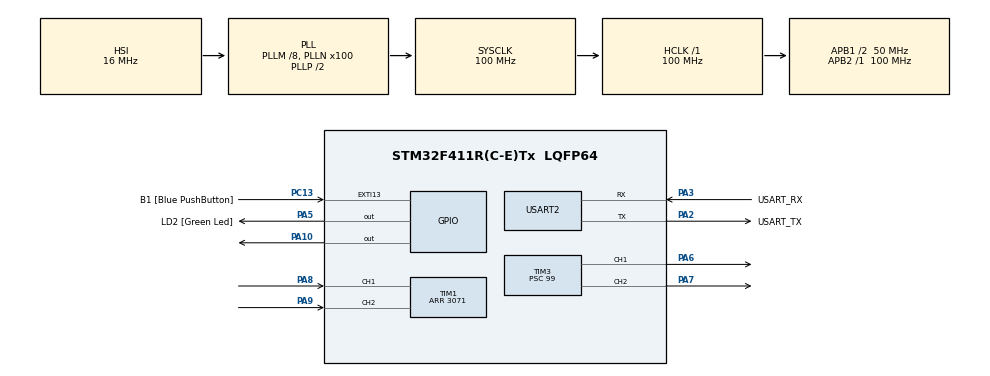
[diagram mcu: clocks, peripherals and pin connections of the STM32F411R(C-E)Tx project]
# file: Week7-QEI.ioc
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Mcu.Family=STM32F4
Mcu.Name=STM32F411R(C-E)Tx
Mcu.Package=LQFP64
NVIC.PriorityGroup=NVIC_PRIORITYGROUP_0
NVIC.TIM2_IRQn=true\:0\:0\:false\:false\:true\:true\:true
PA10.PinState=GPIO_PIN_SET
PA10.Signal=GPIO_Output
PA13.GPIO_Label=TMS
PA13.Mode=Serial_Wire
PA13.Signal=SYS_JTMS-SWDIO
PA14.GPIO_Label=TCK
PA14.Mode=Serial_Wire
PA14.Signal=SYS_JTCK-SWCLK
PA2.GPIO_Label=USART_TX
PA2.Mode=Asynchronous
PA2.Signal=USART2_TX
PA3.GPIO_Label=USART_RX
PA3.Mode=Asynchronous
PA3.Signal=USART2_RX
PA5.GPIO_Label=LD2 [Green Led]
PA5.Signal=GPIO_Output
PA6.Signal=S_TIM3_CH1
PA7.Signal=S_TIM3_CH2
PA8.Signal=S_TIM1_CH1
PA9.Signal=S_TIM1_CH2
PB3.GPIO_Label=SWO
PB3.Signal=SYS_JTDO-SWO
PC13-ANTI_TAMP.GPIO_Label=B1 [Blue PushButton]
PC13-ANTI_TAMP.GPIO_ModeDefaultEXTI=GPIO_MODE_IT_FALLING
PC13-ANTI_TAMP.Signal=GPXTI13
PC14-OSC32_IN.Mode=LSE-External-Oscillator
PC14-OSC32_IN.Signal=RCC_OSC32_IN
PC15-OSC32_OUT.Mode=LSE-External-Oscillator
PC15-OSC32_OUT.Signal=RCC_OSC32_OUT
PH0\ -\ OSC_IN.Mode=HSE-External-Clock-Source
PH0\ -\ OSC_IN.Signal=RCC_OSC_IN
PH1\ -\ OSC_OUT.Mode=HSE-External-Clock-Source
PH1\ -\ OSC_OUT.Signal=RCC_OSC_OUT
ProjectManager.HeapSize=0x200
ProjectManager.StackSize=0x400
ProjectManager.TargetToolchain=STM32CubeIDE
RCC.48MHZClocksFreq_Value=50000000
RCC.AHBFreq_Value=100000000
RCC.APB1CLKDivider=RCC_HCLK_DIV2
RCC.APB1Freq_Value=50000000
RCC.APB1TimFreq_Value=100000000
RCC.APB2Freq_Value=100000000
RCC.APB2TimFreq_Value=100000000
RCC.CortexFreq_Value=100000000
RCC.FLatency-AdvancedSettings=FLASH_LATENCY_3
RCC.HCLKFreq_Value=100000000
RCC.HSE_VALUE=8000000
RCC.HSI_VALUE=16000000
RCC.PLLM=8
RCC.PLLN=100
RCC.SYSCLKFreq_VALUE=100000000
RCC.SYSCLKSource=RCC_SYSCLKSOURCE_PLLCLK
RCC.VCOOutputFreq_Value=200000000
SH.S_TIM1_CH1.0=TIM1_CH1,Encoder_Interface
SH.S_TIM1_CH2.0=TIM1_CH2,Encoder_Interface
SH.S_TIM3_CH1.0=TIM3_CH1,PWM Generation1 CH1
SH.S_TIM3_CH2.0=TIM3_CH2,PWM Generation2 CH2
TIM1.EncoderMode=TIM_ENCODERMODE_TI12
TIM1.IC1Filter=4
TIM1.IC2Filter=0
TIM1.Period=3071
TIM2.Prescaler=99
TIM3.Channel-PWM\ Generation1\ CH1=TIM_CHANNEL_1
TIM3.Channel-PWM\ Generation2\ CH2=TIM_CHANNEL_2
TIM3.OCMode_PWM-PWM\ Generation1\ CH1=TIM_OCMODE_PWM1
TIM3.OCMode_PWM-PWM\ Generation2\ CH2=TIM_OCMODE_PWM1
TIM3.Period=10000
TIM3.Prescaler=99
TIM3.Pulse-PWM\ Generation1\ CH1=0
TIM3.Pulse-PWM\ Generation2\ CH2=0
USART2.VirtualMode=VM_ASYNC
VP_TIM2_VS_ClockSourceINT.Mode=Internal
VP_TIM3_VS_ClockSourceINT.Mode=Internal
board=NUCLEO-F411RE

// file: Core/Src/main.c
/* USER CODE BEGIN Header */
/**
 ******************************************************************************
 * @file           : main.c
 * @brief          : Main program body
 ******************************************************************************
 * @attention
 *
 * <h2><center>&copy; Copyright (c) 2021 STMicroelectronics.
 * All rights reserved.</center></h2>
 *
 * This software component is licensed by ST under BSD 3-Clause license,
 * the "License"; You may not use this file except in compliance with the
 * License. You may obtain a copy of the License at:
 *                        opensource.org/licenses/BSD-3-Clause
 *
 ******************************************************************************
 */
/* USER CODE END Header */
#include "main.h"

TIM_HandleTypeDef htim1;
TIM_HandleTypeDef htim2;
TIM_HandleTypeDef htim3;

UART_HandleTypeDef huart2;

/* USER CODE BEGIN PV */
uint64_t _micros = 0;
float KP= 15;
float KI= 0.02 ;
float KD= 1;
float EncoderVel = 0;
float RPM_Moter = 0;
float InputRPM = 0;
float PWMTarget = 0;
uint64_t Timestamp_Encoder = 0;
uint16_t PWMOut = 0;
/* USER CODE END PV */

void SystemClock_Config(void);
static void MX_GPIO_Init(void);
static void MX_USART2_UART_Init(void);
static void MX_TIM1_Init(void);
static void MX_TIM2_Init(void);
static void MX_TIM3_Init(void);
/* USER CODE BEGIN PFP */

void Process_Value();
void Control_RPM();
uint64_t micros();
float EncoderVelocity_Update();

/* USER CODE END PFP */

int main(void)
{

  /* MCU Configuration--------------------------------------------------------*/

  /* Reset of all peripherals, Initializes the Flash interface and the Systick. */
  HAL_Init();

  /* Configure the system clock */
  SystemClock_Config();

  /* Initialize all configured peripherals */
  MX_GPIO_Init();
  MX_USART2_UART_Init();
  MX_TIM1_Init();
  MX_TIM2_Init();
  MX_TIM3_Init();
  /* USER CODE BEGIN 2 */
	HAL_TIM_Base_Start_IT(&htim2);
	HAL_TIM_Encoder_Start(&htim1, TIM_CHANNEL_ALL);

	//Start PWM
	HAL_TIM_Base_Start(&htim3);
	HAL_TIM_PWM_Start(&htim3, TIM_CHANNEL_1);
	HAL_TIM_PWM_Start(&htim3, TIM_CHANNEL_2);
  /* USER CODE END 2 */

  /* Infinite loop */
	while (1)
	{

    /* USER CODE BEGIN 3 */

		if (micros() - Timestamp_Encoder >= 1000){
				Timestamp_Encoder = micros();

				Process_Value();

		}

	}
  /* USER CODE END 3 */
}

void SystemClock_Config(void)
{
  RCC_OscInitTypeDef RCC_OscInitStruct = {0};
  RCC_ClkInitTypeDef RCC_ClkInitStruct = {0};

  /** Configure the main internal regulator output voltage
  */
  __HAL_RCC_PWR_CLK_ENABLE();
  __HAL_PWR_VOLTAGESCALING_CONFIG(PWR_REGULATOR_VOLTAGE_SCALE1);
  /** Initializes the RCC Oscillators according to the specified parameters
  * in the RCC_OscInitTypeDef structure.
  */
  RCC_OscInitStruct.OscillatorType = RCC_OSCILLATORTYPE_HSI;
  RCC_OscInitStruct.HSIState = RCC_HSI_ON;
  RCC_OscInitStruct.HSICalibrationValue = RCC_HSICALIBRATION_DEFAULT;
  RCC_OscInitStruct.PLL.PLLState = RCC_PLL_ON;
  RCC_OscInitStruct.PLL.PLLSource = RCC_PLLSOURCE_HSI;
  RCC_OscInitStruct.PLL.PLLM = 8;
  RCC_OscInitStruct.PLL.PLLN = 100;
  RCC_OscInitStruct.PLL.PLLP = RCC_PLLP_DIV2;
  RCC_OscInitStruct.PLL.PLLQ = 4;
  if (HAL_RCC_OscConfig(&RCC_OscInitStruct) != HAL_OK)
  {
    Error_Handler();
  }
  /** Initializes the CPU, AHB and APB buses clocks
  */
  RCC_ClkInitStruct.ClockType = RCC_CLOCKTYPE_HCLK|RCC_CLOCKTYPE_SYSCLK
                              |RCC_CLOCKTYPE_PCLK1|RCC_CLOCKTYPE_PCLK2;
  RCC_ClkInitStruct.SYSCLKSource = RCC_SYSCLKSOURCE_PLLCLK;
  RCC_ClkInitStruct.AHBCLKDivider = RCC_SYSCLK_DIV1;
  RCC_ClkInitStruct.APB1CLKDivider = RCC_HCLK_DIV2;
  RCC_ClkInitStruct.APB2CLKDivider = RCC_HCLK_DIV1;

  if (HAL_RCC_ClockConfig(&RCC_ClkInitStruct, FLASH_LATENCY_3) != HAL_OK)
  {
    Error_Handler();
  }
}

static void MX_TIM1_Init(void)
{

  TIM_Encoder_InitTypeDef sConfig = {0};
  TIM_MasterConfigTypeDef sMasterConfig = {0};

  htim1.Instance = TIM1;
  htim1.Init.Prescaler = 0;
  htim1.Init.CounterMode = TIM_COUNTERMODE_UP;
  htim1.Init.Period = 3071;
  htim1.Init.ClockDivision = TIM_CLOCKDIVISION_DIV1;
  htim1.Init.RepetitionCounter = 0;
  htim1.Init.AutoReloadPreload = TIM_AUTORELOAD_PRELOAD_DISABLE;
  sConfig.EncoderMode = TIM_ENCODERMODE_TI12;
  sConfig.IC1Polarity = TIM_ICPOLARITY_RISING;
  sConfig.IC1Selection = TIM_ICSELECTION_DIRECTTI;
  sConfig.IC1Prescaler = TIM_ICPSC_DIV1;
  sConfig.IC1Filter = 4;
  sConfig.IC2Polarity = TIM_ICPOLARITY_RISING;
  sConfig.IC2Selection = TIM_ICSELECTION_DIRECTTI;
  sConfig.IC2Prescaler = TIM_ICPSC_DIV1;
  sConfig.IC2Filter = 0;
  if (HAL_TIM_Encoder_Init(&htim1, &sConfig) != HAL_OK)
  {
    Error_Handler();
  }
  sMasterConfig.MasterOutputTrigger = TIM_TRGO_RESET;
  sMasterConfig.MasterSlaveMode = TIM_MASTERSLAVEMODE_DISABLE;
  if (HAL_TIMEx_MasterConfigSynchronization(&htim1, &sMasterConfig) != HAL_OK)
  {
    Error_Handler();
  }

}

static void MX_TIM2_Init(void)
{

  TIM_ClockConfigTypeDef sClockSourceConfig = {0};
  TIM_MasterConfigTypeDef sMasterConfig = {0};

  htim2.Instance = TIM2;
  htim2.Init.Prescaler = 99;
  htim2.Init.CounterMode = TIM_COUNTERMODE_UP;
  htim2.Init.Period = 4294967295;
  htim2.Init.ClockDivision = TIM_CLOCKDIVISION_DIV1;
  htim2.Init.AutoReloadPreload = TIM_AUTORELOAD_PRELOAD_DISABLE;
  if (HAL_TIM_Base_Init(&htim2) != HAL_OK)
  {
    Error_Handler();
  }
  sClockSourceConfig.ClockSource = TIM_CLOCKSOURCE_INTERNAL;
  if (HAL_TIM_ConfigClockSource(&htim2, &sClockSourceConfig) != HAL_OK)
  {
    Error_Handler();
  }
  sMasterConfig.MasterOutputTrigger = TIM_TRGO_RESET;
  sMasterConfig.MasterSlaveMode = TIM_MASTERSLAVEMODE_DISABLE;
  if (HAL_TIMEx_MasterConfigSynchronization(&htim2, &sMasterConfig) != HAL_OK)
  {
    Error_Handler();
  }

}

static void MX_TIM3_Init(void)
{

  TIM_ClockConfigTypeDef sClockSourceConfig = {0};
  TIM_MasterConfigTypeDef sMasterConfig = {0};
  TIM_OC_InitTypeDef sConfigOC = {0};

  htim3.Instance = TIM3;
  htim3.Init.Prescaler = 99;
  htim3.Init.CounterMode = TIM_COUNTERMODE_UP;
  htim3.Init.Period = 10000;
  htim3.Init.ClockDivision = TIM_CLOCKDIVISION_DIV1;
  htim3.Init.AutoReloadPreload = TIM_AUTORELOAD_PRELOAD_DISABLE;
  if (HAL_TIM_Base_Init(&htim3) != HAL_OK)
  {
    Error_Handler();
  }
  sClockSourceConfig.ClockSource = TIM_CLOCKSOURCE_INTERNAL;
  if (HAL_TIM_ConfigClockSource(&htim3, &sClockSourceConfig) != HAL_OK)
  {
    Error_Handler();
  }
  if (HAL_TIM_PWM_Init(&htim3) != HAL_OK)
  {
    Error_Handler();
  }
  sMasterConfig.MasterOutputTrigger = TIM_TRGO_RESET;
  sMasterConfig.MasterSlaveMode = TIM_MASTERSLAVEMODE_DISABLE;
  if (HAL_TIMEx_MasterConfigSynchronization(&htim3, &sMasterConfig) != HAL_OK)
  {
    Error_Handler();
  }
  sConfigOC.OCMode = TIM_OCMODE_PWM1;
  sConfigOC.Pulse = 0;
  sConfigOC.OCPolarity = TIM_OCPOLARITY_HIGH;
  sConfigOC.OCFastMode = TIM_OCFAST_DISABLE;
  if (HAL_TIM_PWM_ConfigChannel(&htim3, &sConfigOC, TIM_CHANNEL_1) != HAL_OK)
  {
    Error_Handler();
  }
  if (HAL_TIM_PWM_ConfigChannel(&htim3, &sConfigOC, TIM_CHANNEL_2) != HAL_OK)
  {
    Error_Handler();
  }
  HAL_TIM_MspPostInit(&htim3);

}

static void MX_USART2_UART_Init(void)
{

  huart2.Instance = USART2;
  huart2.Init.BaudRate = 115200;
  huart2.Init.WordLength = UART_WORDLENGTH_8B;
  huart2.Init.StopBits = UART_STOPBITS_1;
  huart2.Init.Parity = UART_PARITY_NONE;
  huart2.Init.Mode = UART_MODE_TX_RX;
  huart2.Init.HwFlowCtl = UART_HWCONTROL_NONE;
  huart2.Init.OverSampling = UART_OVERSAMPLING_16;
  if (HAL_UART_Init(&huart2) != HAL_OK)
  {
    Error_Handler();
  }

}

static void MX_GPIO_Init(void)
{
  GPIO_InitTypeDef GPIO_InitStruct = {0};

  /* GPIO Ports Clock Enable */
  __HAL_RCC_GPIOC_CLK_ENABLE();
  __HAL_RCC_GPIOH_CLK_ENABLE();
  __HAL_RCC_GPIOA_CLK_ENABLE();
  __HAL_RCC_GPIOB_CLK_ENABLE();

  /*Configure GPIO pin Output Level */
  HAL_GPIO_WritePin(LD2_GPIO_Port, LD2_Pin, GPIO_PIN_RESET);

  /*Configure GPIO pin Output Level */
  HAL_GPIO_WritePin(GPIOA, GPIO_PIN_10, GPIO_PIN_SET);

  /*Configure GPIO pin : B1_Pin */
  GPIO_InitStruct.Pin = B1_Pin;
  GPIO_InitStruct.Mode = GPIO_MODE_IT_FALLING;
  GPIO_InitStruct.Pull = GPIO_NOPULL;
  HAL_GPIO_Init(B1_GPIO_Port, &GPIO_InitStruct);

  /*Configure GPIO pins : LD2_Pin PA10 */
  GPIO_InitStruct.Pin = LD2_Pin|GPIO_PIN_10;
  GPIO_InitStruct.Mode = GPIO_MODE_OUTPUT_PP;
  GPIO_InitStruct.Pull = GPIO_NOPULL;
  GPIO_InitStruct.Speed = GPIO_SPEED_FREQ_LOW;
  HAL_GPIO_Init(GPIOA, &GPIO_InitStruct);

}

/* USER CODE BEGIN 4 */
#define  HTIM_ENCODER htim1
#define  MAX_SUBPOSITION_OVERFLOW 1536
#define  MAX_ENCODER_PERIOD 3072

float EncoderVelocity_Update() //Angular frequenzy
{
	//Save Last state
	static uint32_t EncoderLastPosition = 0;
	static uint64_t EncoderLastTimestamp = 0;

	//read data
	uint32_t EncoderNowPosition = HTIM_ENCODER.Instance->CNT;
	uint64_t EncoderNowTimestamp = micros();

	int32_t EncoderPositionDiff;
	uint64_t EncoderTimeDiff;

	EncoderTimeDiff = EncoderNowTimestamp - EncoderLastTimestamp;
	EncoderPositionDiff = EncoderNowPosition - EncoderLastPosition;

	//compensate overflow and underflow
	if (EncoderPositionDiff >= MAX_SUBPOSITION_OVERFLOW)
	{
		EncoderPositionDiff -= MAX_ENCODER_PERIOD;
	}
	else if (-EncoderPositionDiff >= MAX_SUBPOSITION_OVERFLOW)
	{
		EncoderPositionDiff += MAX_ENCODER_PERIOD;
	}

	//Update Position and time
	EncoderLastPosition = EncoderNowPosition;
	EncoderLastTimestamp = EncoderNowTimestamp;

	//Calculate velocity
	//EncoderTimeDiff is in uS
	return (EncoderPositionDiff * 1000000) / (float) EncoderTimeDiff;

}

void Process_Value(){

		EncoderVel = (EncoderVel * 249 + EncoderVelocity_Update()) / 250.0;
		Control_RPM();
		RPM_Moter = (EncoderVel/3072)*60;
		if(InputRPM > 0){
					__HAL_TIM_SET_COMPARE(&htim3, TIM_CHANNEL_1, 0);
					__HAL_TIM_SET_COMPARE(&htim3, TIM_CHANNEL_2, PWMOut);
				}
				else if(InputRPM < 0){
					__HAL_TIM_SET_COMPARE(&htim3, TIM_CHANNEL_1, PWMOut);
					__HAL_TIM_SET_COMPARE(&htim3, TIM_CHANNEL_2, 0);
				}
				else if(InputRPM == 0){
					__HAL_TIM_SET_COMPARE(&htim3, TIM_CHANNEL_1, 0);
					__HAL_TIM_SET_COMPARE(&htim3, TIM_CHANNEL_2, 0);
		}

}
//rpm = 60*vel/3072 ---> vel = rpm*3072/60
void Control_RPM(){
		static float ErrorValue,Summary_ErrorValue,Last_ErrorValue;
		if(InputRPM < 0){
			PWMTarget = ((InputRPM*3072.0)*-1/60.0) ;
			ErrorValue = PWMTarget - (EncoderVel*-1);
		}
		else if(InputRPM >= 0){
			PWMTarget = (InputRPM*3072.0)/60.0 ;
			ErrorValue = PWMTarget - EncoderVel;
		}
		Summary_ErrorValue += ErrorValue;
		PWMOut = KP*ErrorValue + KI*Summary_ErrorValue + KD*(ErrorValue-Last_ErrorValue);
		Last_ErrorValue=ErrorValue;
}

void HAL_TIM_PeriodElapsedCallback(TIM_HandleTypeDef *htim)
{
	if (htim == &htim2)
	{
		_micros += 4294967295;
	}
}
uint64_t micros()
{
	return _micros + htim2.Instance->CNT;
}
/* USER CODE END 4 */

void Error_Handler(void)
{
	__disable_irq();
	while (1)
	{
	}
}

/************************ (C) COPYRIGHT STMicroelectronics *****END OF FILE****/
